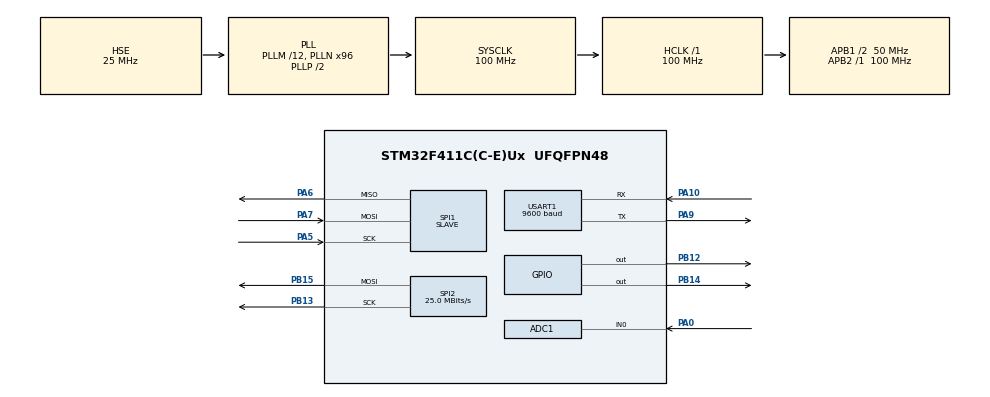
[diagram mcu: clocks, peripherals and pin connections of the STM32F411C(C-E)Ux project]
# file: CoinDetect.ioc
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ADC1.Channel-2\#ChannelRegularConversion=ADC_CHANNEL_0
ADC1.ClockPrescaler=ADC_CLOCK_SYNC_PCLK_DIV4
ADC1.ContinuousConvMode=DISABLE
ADC1.DMAContinuousRequests=ENABLE
ADC1.ExternalTrigConv=ADC_EXTERNALTRIGCONV_T2_TRGO
ADC1.NbrOfConversionFlag=1
ADC1.Rank-2\#ChannelRegularConversion=1
ADC1.SamplingTime-2\#ChannelRegularConversion=ADC_SAMPLETIME_3CYCLES
ADC1.master=1
Dma.ADC1.0.Direction=DMA_PERIPH_TO_MEMORY
Dma.ADC1.0.FIFOMode=DMA_FIFOMODE_DISABLE
Dma.ADC1.0.Instance=DMA2_Stream0
Dma.ADC1.0.MemDataAlignment=DMA_MDATAALIGN_HALFWORD
Dma.ADC1.0.MemInc=DMA_MINC_ENABLE
Dma.ADC1.0.Mode=DMA_CIRCULAR
Dma.ADC1.0.PeriphDataAlignment=DMA_PDATAALIGN_HALFWORD
Dma.ADC1.0.PeriphInc=DMA_PINC_DISABLE
Dma.ADC1.0.Priority=DMA_PRIORITY_HIGH
Dma.Request0=ADC1
Dma.Request1=USART1_RX
Dma.USART1_RX.1.Direction=DMA_PERIPH_TO_MEMORY
Dma.USART1_RX.1.FIFOMode=DMA_FIFOMODE_DISABLE
Dma.USART1_RX.1.Instance=DMA2_Stream2
Dma.USART1_RX.1.MemDataAlignment=DMA_MDATAALIGN_BYTE
Dma.USART1_RX.1.MemInc=DMA_MINC_ENABLE
Dma.USART1_RX.1.Mode=DMA_NORMAL
Dma.USART1_RX.1.PeriphDataAlignment=DMA_PDATAALIGN_BYTE
Dma.USART1_RX.1.PeriphInc=DMA_PINC_DISABLE
Dma.USART1_RX.1.Priority=DMA_PRIORITY_LOW
Mcu.Family=STM32F4
Mcu.Name=STM32F411C(C-E)Ux
Mcu.Package=UFQFPN48
NVIC.DMA2_Stream0_IRQn=true\:0\:0\:false\:false\:true\:true\:true\:true
NVIC.PriorityGroup=NVIC_PRIORITYGROUP_4
NVIC.USART1_IRQn=true\:0\:0\:false\:false\:true\:true\:true\:true
PA0-WKUP.Signal=ADCx_IN0
PA10.GPIO_PuPd=GPIO_PULLUP
PA10.Mode=Asynchronous
PA10.Signal=USART1_RX
PA13.Mode=Serial_Wire
PA13.Signal=SYS_JTMS-SWDIO
PA14.Mode=Serial_Wire
PA14.Signal=SYS_JTCK-SWCLK
PA5.Mode=Full_Duplex_Slave
PA5.Signal=SPI1_SCK
PA6.Mode=Full_Duplex_Slave
PA6.Signal=SPI1_MISO
PA7.Mode=Full_Duplex_Slave
PA7.Signal=SPI1_MOSI
PA9.Mode=Asynchronous
PA9.Signal=USART1_TX
PB12.Signal=GPIO_Output
PB13.Mode=TX_Only_Simplex_Unidirect_Master
PB13.Signal=SPI2_SCK
PB14.Signal=GPIO_Output
PB15.Mode=TX_Only_Simplex_Unidirect_Master
PB15.Signal=SPI2_MOSI
PC14-OSC32_IN.Mode=LSE-External-Oscillator
PC14-OSC32_IN.Signal=RCC_OSC32_IN
PC15-OSC32_OUT.Mode=LSE-External-Oscillator
PC15-OSC32_OUT.Signal=RCC_OSC32_OUT
PH0\ -\ OSC_IN.Mode=HSE-External-Oscillator
PH0\ -\ OSC_IN.Signal=RCC_OSC_IN
PH1\ -\ OSC_OUT.Mode=HSE-External-Oscillator
PH1\ -\ OSC_OUT.Signal=RCC_OSC_OUT
ProjectManager.HeapSize=0x200
ProjectManager.StackSize=0x400
ProjectManager.TargetToolchain=Makefile
RCC.48MHZClocksFreq_Value=50000000
RCC.AHBFreq_Value=100000000
RCC.APB1CLKDivider=RCC_HCLK_DIV2
RCC.APB1Freq_Value=50000000
RCC.APB1TimFreq_Value=100000000
RCC.APB2Freq_Value=100000000
RCC.APB2TimFreq_Value=100000000
RCC.CortexFreq_Value=100000000
RCC.HCLKFreq_Value=100000000
RCC.HSE_VALUE=25000000
RCC.HSI_VALUE=16000000
RCC.PLLM=12
RCC.PLLN=96
RCC.PLLSourceVirtual=RCC_PLLSOURCE_HSE
RCC.SYSCLKFreq_VALUE=100000000
RCC.SYSCLKSource=RCC_SYSCLKSOURCE_PLLCLK
RCC.VCOOutputFreq_Value=200000000
SH.ADCx_IN0.0=ADC1_IN0,IN0
SPI1.Direction=SPI_DIRECTION_2LINES
SPI1.Mode=SPI_MODE_SLAVE
SPI1.VirtualType=VM_SLAVE
SPI2.CLKPolarity=SPI_POLARITY_HIGH
SPI2.CalculateBaudRate=25.0 MBits/s
SPI2.Direction=SPI_DIRECTION_2LINES
SPI2.Mode=SPI_MODE_MASTER
SPI2.VirtualType=VM_MASTER
TIM2.AutoReloadPreload=TIM_AUTORELOAD_PRELOAD_ENABLE
TIM2.TIM_MasterOutputTrigger=TIM_TRGO_UPDATE
USART1.BaudRate=9600
USART1.VirtualMode=VM_ASYNC
VP_TIM2_VS_ClockSourceINT.Mode=Internal
board=custom

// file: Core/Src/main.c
/* USER CODE BEGIN Header */
/**
 ******************************************************************************
 * @file           : main.c
 * @brief          : Main program body
 ******************************************************************************
 * @attention
 *
 * Copyright (c) 2023 STMicroelectronics.
 * All rights reserved.
 *
 * This software is licensed under terms that can be found in the LICENSE file
 * in the root directory of this software component.
 * If no LICENSE file comes with this software, it is provided AS-IS.
 *
 ******************************************************************************
 */
/* USER CODE END Header */
#include "main.h"
#include "adc.h"
#include "dma.h"
#include "spi.h"
#include "tim.h"
#include "usart.h"
#include "gpio.h"

/* USER CODE BEGIN Includes */
//#include "AD9833.h"
#include "AD9834.h"
#include "Retarget.h"
#include "FFTv2.h"
#include "HMI.h"

#include <stdbool.h>
#include <stdio.h>
#include <string.h>
/* USER CODE END Includes */

/* USER CODE BEGIN PTD */
typedef enum
{
  None,
  A_Measure,
  B_Measure,
  C_Measure,
  Measure
} Mode;
/* USER CODE END PTD */

/* USER CODE BEGIN PD */
#define ADC_BUF_SIZE 1024
/* USER CODE END PD */

/* USER CODE BEGIN PV */
uint16_t ADC1ConvertedValues[ADC_BUF_SIZE];
// float ADC1ConvertedVoltage[ADC_BUF_SIZE];
// FFTresult FFT_Res;
HMI_Handle HMI_RevData;

bool isADC1Converted = false;
Mode mode = None;
/* USER CODE END PV */

void SystemClock_Config(void);
/* USER CODE BEGIN PFP */
void GetPeeks(float *source, float *res, uint16_t len);
float GetAvg(uint16_t *source, uint16_t len);
uint32_t GetADCCLK(ADC_HandleTypeDef *hadc);
void SetSimplingTime(ADC_HandleTypeDef *hadc, uint32_t time);
void SetSimpleRate(ADC_HandleTypeDef *hadc, TIM_HandleTypeDef *htim, uint32_t rate);
void VoltageConvert(uint16_t *source, float *res, uint16_t len);
void EventCapture();
void EventProcess();
/* USER CODE END PFP */

/* USER CODE BEGIN 0 */
void HAL_ADC_ConvCpltCallback(ADC_HandleTypeDef *hadc)
{
  if (hadc->Instance == ADC1)
  {
    HAL_ADC_Stop_DMA(hadc);
    isADC1Converted = true;
  }
}
/* USER CODE END 0 */

int main(void)
{

  /* MCU Configuration--------------------------------------------------------*/

  /* Reset of all peripherals, Initializes the Flash interface and the Systick. */
  HAL_Init();

  /* Configure the system clock */
  SystemClock_Config();

  /* Initialize all configured peripherals */
  MX_GPIO_Init();
  MX_DMA_Init();
  MX_SPI1_Init();
  MX_ADC1_Init();
  MX_USART1_UART_Init();
  MX_TIM2_Init();
  MX_SPI2_Init();
  /* USER CODE BEGIN 2 */
  // FFT_Init();
  //AD9833_Init(SIN, 349 * 1e3, 0);
  AD9834_Select_Wave(Sine_Wave);
  AD9834_Set_Freq(FREQ_0, 364500);
  RetargetInit(&huart1);
  HMI_Init(&huart1, &HMI_RevData);

  SetSimpleRate(&hadc1, &htim2, 1e3); // 1kHz
  HAL_TIM_Base_Start(&htim2);
  HAL_ADC_Start_DMA(&hadc1, (uint32_t *)ADC1ConvertedValues, ADC_BUF_SIZE);
  /* USER CODE END 2 */

  /* Infinite loop */
  /* USER CODE BEGIN WHILE */
  while (1)
  {
    if (isADC1Converted)
    {
      // VoltageConvert(ADC1ConvertedValues, ADC1ConvertedVoltage, ADC_BUF_SIZE);
      // FFT_f32(ADC1ConvertedVoltage, ADC_BUF_SIZE, &FFT_Res);
      EventCapture();
      EventProcess();
      isADC1Converted = false;
      HAL_ADC_Start_DMA(&hadc1, (uint32_t *)ADC1ConvertedValues, ADC_BUF_SIZE);
    }
    /* USER CODE END WHILE */

  }
}

void SystemClock_Config(void)
{
  RCC_OscInitTypeDef RCC_OscInitStruct = {0};
  RCC_ClkInitTypeDef RCC_ClkInitStruct = {0};

  /** Configure the main internal regulator output voltage
  */
  __HAL_RCC_PWR_CLK_ENABLE();
  __HAL_PWR_VOLTAGESCALING_CONFIG(PWR_REGULATOR_VOLTAGE_SCALE1);

  /** Initializes the RCC Oscillators according to the specified parameters
  * in the RCC_OscInitTypeDef structure.
  */
  RCC_OscInitStruct.OscillatorType = RCC_OSCILLATORTYPE_HSE;
  RCC_OscInitStruct.HSEState = RCC_HSE_ON;
  RCC_OscInitStruct.PLL.PLLState = RCC_PLL_ON;
  RCC_OscInitStruct.PLL.PLLSource = RCC_PLLSOURCE_HSE;
  RCC_OscInitStruct.PLL.PLLM = 12;
  RCC_OscInitStruct.PLL.PLLN = 96;
  RCC_OscInitStruct.PLL.PLLP = RCC_PLLP_DIV2;
  RCC_OscInitStruct.PLL.PLLQ = 4;
  if (HAL_RCC_OscConfig(&RCC_OscInitStruct) != HAL_OK)
  {
    Error_Handler();
  }

  /** Initializes the CPU, AHB and APB buses clocks
  */
  RCC_ClkInitStruct.ClockType = RCC_CLOCKTYPE_HCLK|RCC_CLOCKTYPE_SYSCLK
                              |RCC_CLOCKTYPE_PCLK1|RCC_CLOCKTYPE_PCLK2;
  RCC_ClkInitStruct.SYSCLKSource = RCC_SYSCLKSOURCE_PLLCLK;
  RCC_ClkInitStruct.AHBCLKDivider = RCC_SYSCLK_DIV1;
  RCC_ClkInitStruct.APB1CLKDivider = RCC_HCLK_DIV2;
  RCC_ClkInitStruct.APB2CLKDivider = RCC_HCLK_DIV1;

  if (HAL_RCC_ClockConfig(&RCC_ClkInitStruct, FLASH_LATENCY_3) != HAL_OK)
  {
    Error_Handler();
  }
}

/* USER CODE BEGIN 4 */
// Get min and max value of array
void GetPeeks(float *source, float *res, uint16_t len)
{
  float min = 4096;
  float max = 0;
  for (uint16_t i = 0; i < len; i++)
  {
    if (source[i] > max)
    {
      max = source[i];
    }
    if (source[i] < min)
    {
      min = source[i];
    }
  }
  res[0] = min;
  res[1] = max;
}
// Get average value of array
float GetAvg(uint16_t *source, uint16_t len)
{
  uint32_t sum = 0;
  for (uint16_t i = 0; i < len; i++)
  {
    sum += source[i];
  }
  return sum / len;
}
// Get ADCCLK
uint32_t GetADCCLK(ADC_HandleTypeDef *hadc)
{
  uint32_t PCLK2 = HAL_RCC_GetPCLK2Freq();
  switch (hadc->Init.ClockPrescaler)
  {
  case ADC_CLOCK_SYNC_PCLK_DIV2:
  {
    return PCLK2 / 2;
  }
  case ADC_CLOCK_SYNC_PCLK_DIV4:
  {
    return PCLK2 / 4;
  }
  case ADC_CLOCK_SYNC_PCLK_DIV6:
  {
    return PCLK2 / 6;
  }
  case ADC_CLOCK_SYNC_PCLK_DIV8:
  {
    return PCLK2 / 8;
  }
  }
}
// Set ADC sampling time
void SetSimplingTime(ADC_HandleTypeDef *hadc, uint32_t time)
{
  ADC_ChannelConfTypeDef sConfig = {0};

  sConfig.Channel = ADC_CHANNEL_0;
  sConfig.Rank = 1;
  sConfig.SamplingTime = time;
  if (HAL_ADC_ConfigChannel(hadc, &sConfig) != HAL_OK)
  {
    Error_Handler();
  }
}
/*
Set ADC sampling rate. Automatically set ADC and TIM.
Strategy:
  Sampling an analog signal more slowly reduces surge "parasitic" drain on the analog line as a result of the sampling process itself,
  which both draws a tiny current from the analog line and takes time.
  If your analog line has an extremely small current source capability
  (think: the analog source "recharging" the capacitance of the analog line can only produce a tiny tiny current to recharge that analog line),
  then it cannot handle a high sample rate sampling on it. This is, again, because the sampling process itself will draw current,
  making the analog signal sag (distorting it from its true value), and introducing noise to the analog signal.
  In such cases you are wise to choose a slow sample rate by setting your sample time to a very long value.
*/
void SetSimpleRate(ADC_HandleTypeDef *hadc, TIM_HandleTypeDef *htim, uint32_t rate)
{
  uint32_t ADCCLK = GetADCCLK(hadc);
  uint32_t sTime = ADCCLK / rate - 12;
  if (sTime >= 480)
    SetSimplingTime(hadc, ADC_SAMPLETIME_480CYCLES);
  else if (sTime < 480 && sTime >= 144)
    SetSimplingTime(hadc, ADC_SAMPLETIME_144CYCLES);
  else if (sTime < 144 && sTime >= 112)
    SetSimplingTime(hadc, ADC_SAMPLETIME_112CYCLES);
  else if (sTime < 122 && sTime >= 84)
    SetSimplingTime(hadc, ADC_SAMPLETIME_84CYCLES);
  else if (sTime < 84 && sTime >= 56)
    SetSimplingTime(hadc, ADC_SAMPLETIME_56CYCLES);
  else if (sTime < 56 && sTime >= 28)
    SetSimplingTime(hadc, ADC_SAMPLETIME_28CYCLES);
  else if (sTime < 28 && sTime >= 15)
    SetSimplingTime(hadc, ADC_SAMPLETIME_15CYCLES);
  else
    SetSimplingTime(hadc, ADC_SAMPLETIME_3CYCLES);

  htim->Init.Period = HAL_RCC_GetPCLK2Freq() / rate - 1;
  if (HAL_TIM_Base_Init(htim) != HAL_OK)
  {
    Error_Handler();
  }
}
void VoltageConvert(uint16_t *source, float *res, uint16_t len)
{
  for (uint16_t i = 0; i < len; i++)
  {
    res[i] = source[i] * 3.3 / 4096;
  }
}

void EventCapture()
{
  if (HMI_RevData.dataLength)
  {
    if (!strcmp(HMI_RevData.bufferRev, "Measure"))
    {
      mode = Measure;
      HMI_BufReset();
    }
    else if (!strcmp(HMI_RevData.bufferRev, "A_Measure"))
    {
      mode = A_Measure;
      HMI_BufReset();
    }
    else if (!strcmp(HMI_RevData.bufferRev, "B_Measure"))
    {
      mode = B_Measure;
      HMI_BufReset();
    }
    else if (!strcmp(HMI_RevData.bufferRev, "C_Measure"))
    {
      mode = C_Measure;
      HMI_BufReset();
    }
  }
}
void EventProcess()
{
  float avg = GetAvg(ADC1ConvertedValues, ADC_BUF_SIZE) / 4096 * 3.3;
  switch (mode)
  {
  case Measure:
  {
    uint8_t command[20] = {0};
    sprintf(command, "t0.txt=\"%.6f\"", avg);
    HMI_Printf(command);
    mode = None;
    break;
  }
  case A_Measure:
  {
    if(avg < 2.3)
    {
      HMI_Printf("t0.txt=\"CoinBox Detected\"");
      if(avg <= 2.3 && avg >= 2.25)HMI_Printf("p0.pic=2");
      else if(avg < 2.25 && avg >= 2.07)HMI_Printf("p0.pic=1");
      else if(avg < 2.07)HMI_Printf("p0.pic=0");
      HMI_Printf("vis p0,1");
    }
    else
    {
      HMI_Printf("t0.txt=\"Please Place Box\"");
      HMI_Printf("vis p0,0");
    }
    mode = None;
    break;
  }
  case B_Measure:
  {
    if(avg < 2.20)
    {
      HMI_Printf("t0.txt=\"CoinBox Detected\"");
      if(avg <= 1.7 && avg >= 1.4)
      {
        HMI_Printf("p0.pic=3");
        HMI_Printf("p1.pic=3");
      }
      else if(avg <= 1.79 && avg > 1.7)
      {
        HMI_Printf("p0.pic=4");
        HMI_Printf("p1.pic=3");
      }
      else if(avg <= 1.85 && avg > 1.79)
      {
        HMI_Printf("p0.pic=5");
        HMI_Printf("p1.pic=3");
      }
      else if(avg <= 1.94 && avg > 1.85)
      {
        HMI_Printf("p0.pic=3");
        HMI_Printf("p1.pic=4");
      }
      else if(avg <= 2 && avg > 1.94)
      {
        HMI_Printf("p0.pic=3");
        HMI_Printf("p1.pic=5");
      }
      else if(avg <= 2.12 && avg > 2)
      {
        HMI_Printf("p0.pic=4");
        HMI_Printf("p1.pic=4");
      }
      else if(avg <= 2.15 && avg > 2.12)
      {
        HMI_Printf("p0.pic=5");
        HMI_Printf("p1.pic=4");
      }
      else if(avg <= 2.17 && avg > 2.15)
      {
        HMI_Printf("p0.pic=4");
        HMI_Printf("p1.pic=5");
      }
      else if(avg < 2.3 && avg > 2.17)
      {
        HMI_Printf("p0.pic=5");
        HMI_Printf("p1.pic=5");
      }
      HMI_Printf("vis p0,1");
      HMI_Printf("vis p1,1");
    }
    else
    {
      HMI_Printf("t0.txt=\"Please Place Box\"");
      HMI_Printf("vis p0,0");
      HMI_Printf("vis p1,0");
    }
    mode = None;
    break;
  }
  case C_Measure:
  {
    if(avg  > 1.95)
    {
      HMI_Printf("p0.pic=8");
      HMI_Printf("p1.pic=8");
      HMI_Printf("p2.pic=8");
    }
    else if(avg <= 1.95 && avg > 1.45)
    {
      HMI_Printf("p0.pic=7");
      HMI_Printf("p1.pic=7");
      HMI_Printf("p2.pic=7");
    }
    else if(avg <= 1.45)
    {
      HMI_Printf("p0.pic=6");
      HMI_Printf("p1.pic=6");
      HMI_Printf("p2.pic=6");
    }
    HMI_Printf("vis p0,2");
    HMI_Printf("vis p1,1");
    HMI_Printf("vis p2,1");
    mode = None;
    break;
  }
  }
}
/* USER CODE END 4 */

void Error_Handler(void)
{
  __disable_irq();
  while (1)
  {
  }
}
